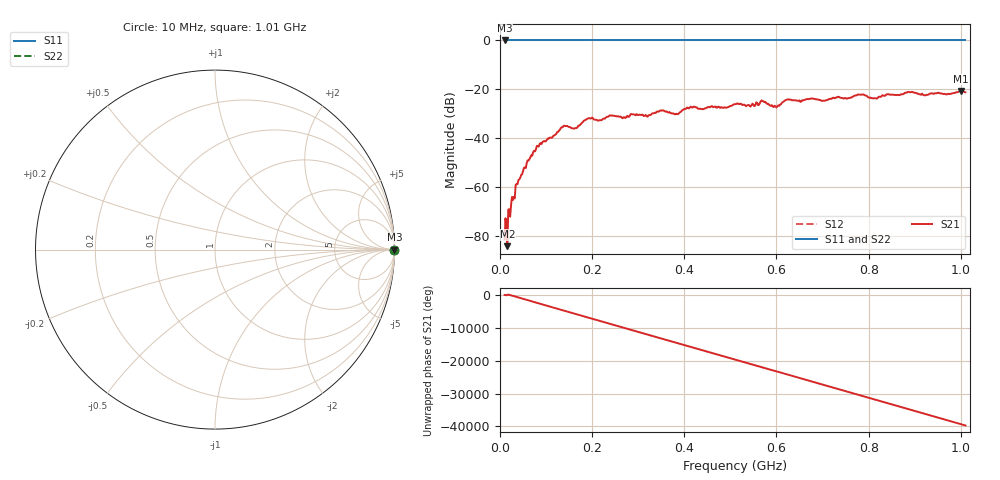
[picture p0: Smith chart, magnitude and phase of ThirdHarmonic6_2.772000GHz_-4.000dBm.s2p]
! 8/17/2025 7:03:24 AM
! C:\ANRITSUVNA\TEMP\TEMP.S2P
! CHANNEL.1
! TR.MEASUREMENT
! RAW.DATA
! RF.CORRECTION.OFF
! AVERAGING.OFF
! IF.BANDWIDTH: 5KHZ
! SWEEPTYPE:  FREQ.SWEEP(Linear)
! Reference Plane Port Info
! PORT:  PORT1  PORT2
! DISTANCE:  0  m  0  m
! TIME:  0  s  0  s
! PHASE.OFFSET:  0  deg.  0  deg.
! LOSS:  0  dB  0  dB
! REF.LOSS:  0  dB  0  dB
! REF.FREQ:  0  Hz  0  Hz
! Power Info
! POWER:  -20  dBm  -20  dBm
! EFF.POWER:  -20  dBm  -20  dBm
! SOURCE.ATTEN:  0  dB  0  dB
! TEST.ATTEN:  0  dB  0  dB
# GHZ S RI R 50.0
! FREQ.GHZ  S11RE  S11IM  S21RE  S21IM  S12RE  S12IM  S22RE  S22IM
!; PortSelection: Port_12
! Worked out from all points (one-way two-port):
!   501 points, 10 MHz to 1.01 GHz, reference 50 ohm
!   highest |S21| = -20.67 dB at 1 GHz (marker M1); lowest = -84.3 dB at 16 MHz (marker M2)
!   lowest |S11| = 0.0 dB at 10 MHz (marker M3)
!   |S11| at or under -10 dB: nowhere
!   |S22| runs from 0.0 to 0.0 dB; largest |S21 - S12| = 1.1
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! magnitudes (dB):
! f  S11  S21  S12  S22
! 10 MHz  0.0  -81.6  0.0  0.0
! 12 MHz  0.0  -72.9  0.0  0.0
! 16 MHz  0.0  -84.3  0.0  0.0
! 38 MHz  0.0  -58.9  0.0  0.0
! 78 MHz  0.0  -44.7  0.0  0.0
! 136 MHz  0.0  -35.6  0.0  0.0
! 164 MHz  0.0  -35.9  0.0  0.0
! 178 MHz  0.0  -33.8  0.0  0.0
! 196 MHz  0.0  -32.0  0.0  0.0
! 322 MHz  0.0  -30.8  0.0  0.0
! 344 MHz  0.0  -29.2  0.0  0.0
! 384 MHz  0.0  -30.2  0.0  0.0
! 410 MHz  0.0  -27.9  0.0  0.0
! 510 MHz  0.0  -26.1  0.0  0.0
! 570 MHz  0.0  -24.9  0.0  0.0
! 596 MHz  0.0  -26.8  0.0  0.0
! 624 MHz  0.0  -24.2  0.0  0.0
! 678 MHz  0.0  -23.8  0.0  0.0
! 814 MHz  0.0  -23.6  0.0  0.0
! 844 MHz  0.0  -22.1  0.0  0.0
! 1 GHz  0.0  -20.7  0.0  0.0
! 1.01 GHz  0.0  -21.3  0.0  0.0
